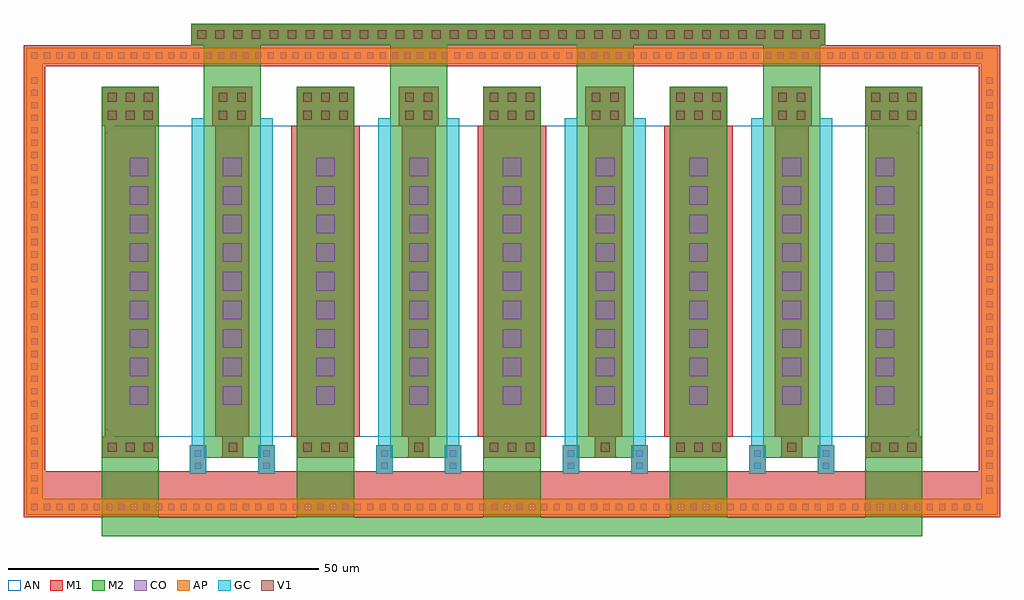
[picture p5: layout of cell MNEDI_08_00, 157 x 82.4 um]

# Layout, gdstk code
import gdstk
lib = gdstk.Library(unit=1e-6, precision=1e-09)
def R(c, l, rs):  # rectangles x0, y0, x1, y1
    for r in rs: c.add(gdstk.rectangle(r[:2], r[2:], *l))
def A(c, l, x, y, w, h, nx, ny, dx, dy):  # array of equal rectangles
    R(c, l, [(x+i*dx, y+j*dy, x+i*dx+w, y+j*dy+h) for i in range(nx) for j in range(ny)])
def P(c, l, *ps):  # polygons
    for p in ps: c.add(gdstk.Polygon(p, *l))
AP = (3, 1)
AN = (3, 2)
GC = (8, 1)
CO = (11, 0)
M1 = (13, 0)
V1 = (19, 0)
M2 = (20, 0)

wlmn_cdns_696586966333 = lib.new_cell('WLMN_CDNS_696586966333')

tc14_cdns_696586966330 = lib.new_cell('TC14_CDNS_696586966330')
R(tc14_cdns_696586966330, M1, [(-51,-1.7,51,1.7)])
A(tc14_cdns_696586966330, V1, -50, -0.7, 1.4, 1.4, 35, 1, 2.9, 0)
R(tc14_cdns_696586966330, M2, [(-51,-1.7,51,1.7)])

tc14_cdns_696586966331 = lib.new_cell('TC14_CDNS_696586966331')
R(tc14_cdns_696586966331, M1, [(-4.6,-3.1,4.6,3.2)])
A(tc14_cdns_696586966331, V1, -3.6, -2.1, 1.4, 1.4, 3, 2, 2.9, 2.9)
R(tc14_cdns_696586966331, M2, [(-4.6,-3.1,4.6,3.2)])

tc14_cdns_696586966332 = lib.new_cell('TC14_CDNS_696586966332')
R(tc14_cdns_696586966332, M1, [(-1.7,-3.1,1.7,3.2)])
R(tc14_cdns_696586966332, V1, [(-0.7,-2.1,0.7,-0.7), (-0.7,0.8,0.7,2.2)])
R(tc14_cdns_696586966332, M2, [(-1.7,-3.1,1.7,3.2)])

tc14_cdns_696586966333 = lib.new_cell('TC14_CDNS_696586966333')
R(tc14_cdns_696586966333, M1, [(-4.6,-1.7,4.6,1.7)])
A(tc14_cdns_696586966333, V1, -3.6, -0.7, 1.4, 1.4, 3, 1, 2.9, 0)
R(tc14_cdns_696586966333, M2, [(-4.6,-1.7,4.6,1.7)])

tc14_cdns_696586966334 = lib.new_cell('TC14_CDNS_696586966334')
R(tc14_cdns_696586966334, M1, [(-1.7,-1.7,1.7,1.7)])
R(tc14_cdns_696586966334, V1, [(-0.7,-0.7,0.7,0.7)])
R(tc14_cdns_696586966334, M2, [(-1.7,-1.7,1.7,1.7)])

sgct_cdns_696586966335 = lib.new_cell('SGCT_CDNS_696586966335')
R(sgct_cdns_696586966335, GC, [(-1.3,-2.3,1.3,2.3)])
R(sgct_cdns_696586966335, CO, [(-0.5,-1.5,0.5,-0.5), (-0.5,0.5,0.5,1.5)])
R(sgct_cdns_696586966335, M1, [(-1.3,-2.3,1.3,2.3)])

mnedi_08_00 = lib.new_cell('MNEDI_08_00')
P(mnedi_08_00, AP, [(5,5),(5,77.6),(7.6,77.6),(7.6,7.6),(158.6,7.6),(158.6,77.6),(5,77.6),(5,80.2),(161.2,80.2),(161.2,5)])
P(mnedi_08_00, AN, [(19,17.6),(17.6,19),(17.6,66.2),(19,67.6),(147.2,67.6),(148.6,66.2),(148.6,19),(147.2,17.6)],
  [(19,17.6),(17.6,19),(17.6,66.2),(19,67.6),(147.2,67.6),(148.6,66.2),(148.6,19),(147.2,17.6)])
R(mnedi_08_00, GC, [(31.6,16.2,33.6,68.8), (42.6,16.2,44.6,68.8), (61.6,16.2,63.6,68.8), (72.6,16.2,74.6,68.8), (91.6,16.2,93.6,68.8), (102.6,16.2,104.6,68.8), (121.6,16.2,123.6,68.8), (132.6,16.2,134.6,68.8)])
A(mnedi_08_00, CO, 5.8, 5.8, 1, 1, 77, 2, 2, 72.6)
A(mnedi_08_00, CO, 5.8, 8.4, 1, 1, 1, 34, 0, 2)
A(mnedi_08_00, CO, 159.4, 8.4, 1, 1, 1, 34, 0, 2)
A(mnedi_08_00, CO, 21.6, 22.7, 3, 3, 1, 9, 0, 4.6)
A(mnedi_08_00, CO, 141.6, 22.7, 3, 3, 1, 9, 0, 4.6)
R(mnedi_08_00, CO, [(36.6,22.7,39.6,25.7), (36.6,22.7,39.6,25.7), (51.6,22.7,54.6,25.7), (51.6,22.7,54.6,25.7), (66.6,22.7,69.6,25.7), (66.6,22.7,69.6,25.7), (81.6,22.7,84.6,25.7), (81.6,22.7,84.6,25.7), (96.6,22.7,99.6,25.7), (96.6,22.7,99.6,25.7), (111.6,22.7,114.6,25.7), (111.6,22.7,114.6,25.7), (126.6,22.7,129.6,25.7), (126.6,22.7,129.6,25.7), (36.6,27.3,39.6,30.3), (36.6,27.3,39.6,30.3), (51.6,27.3,54.6,30.3), (51.6,27.3,54.6,30.3), (66.6,27.3,69.6,30.3), (66.6,27.3,69.6,30.3), (81.6,27.3,84.6,30.3), (81.6,27.3,84.6,30.3), (96.6,27.3,99.6,30.3), (96.6,27.3,99.6,30.3), (111.6,27.3,114.6,30.3), (111.6,27.3,114.6,30.3), (126.6,27.3,129.6,30.3), (126.6,27.3,129.6,30.3), (36.6,31.9,39.6,34.9), (36.6,31.9,39.6,34.9), (51.6,31.9,54.6,34.9), (51.6,31.9,54.6,34.9), (66.6,31.9,69.6,34.9), (66.6,31.9,69.6,34.9), (81.6,31.9,84.6,34.9), (81.6,31.9,84.6,34.9), (96.6,31.9,99.6,34.9), (96.6,31.9,99.6,34.9), (111.6,31.9,114.6,34.9), (111.6,31.9,114.6,34.9), (126.6,31.9,129.6,34.9), (126.6,31.9,129.6,34.9), (36.6,36.5,39.6,39.5), (36.6,36.5,39.6,39.5), (51.6,36.5,54.6,39.5), (51.6,36.5,54.6,39.5), (66.6,36.5,69.6,39.5), (66.6,36.5,69.6,39.5), (81.6,36.5,84.6,39.5), (81.6,36.5,84.6,39.5), (96.6,36.5,99.6,39.5), (96.6,36.5,99.6,39.5), (111.6,36.5,114.6,39.5), (111.6,36.5,114.6,39.5), (126.6,36.5,129.6,39.5), (126.6,36.5,129.6,39.5), (36.6,41.1,39.6,44.1), (36.6,41.1,39.6,44.1), (51.6,41.1,54.6,44.1), (51.6,41.1,54.6,44.1), (66.6,41.1,69.6,44.1), (66.6,41.1,69.6,44.1), (81.6,41.1,84.6,44.1), (81.6,41.1,84.6,44.1), (96.6,41.1,99.6,44.1), (96.6,41.1,99.6,44.1), (111.6,41.1,114.6,44.1), (111.6,41.1,114.6,44.1), (126.6,41.1,129.6,44.1), (126.6,41.1,129.6,44.1), (36.6,45.7,39.6,48.7), (36.6,45.7,39.6,48.7), (51.6,45.7,54.6,48.7), (51.6,45.7,54.6,48.7), (66.6,45.7,69.6,48.7), (66.6,45.7,69.6,48.7), (81.6,45.7,84.6,48.7), (81.6,45.7,84.6,48.7), (96.6,45.7,99.6,48.7), (96.6,45.7,99.6,48.7), (111.6,45.7,114.6,48.7), (111.6,45.7,114.6,48.7), (126.6,45.7,129.6,48.7), (126.6,45.7,129.6,48.7), (36.6,50.3,39.6,53.3), (36.6,50.3,39.6,53.3), (51.6,50.3,54.6,53.3), (51.6,50.3,54.6,53.3), (66.6,50.3,69.6,53.3), (66.6,50.3,69.6,53.3), (81.6,50.3,84.6,53.3), (81.6,50.3,84.6,53.3), (96.6,50.3,99.6,53.3), (96.6,50.3,99.6,53.3), (111.6,50.3,114.6,53.3), (111.6,50.3,114.6,53.3), (126.6,50.3,129.6,53.3), (126.6,50.3,129.6,53.3), (36.6,54.9,39.6,57.9), (36.6,54.9,39.6,57.9), (51.6,54.9,54.6,57.9), (51.6,54.9,54.6,57.9), (66.6,54.9,69.6,57.9), (66.6,54.9,69.6,57.9), (81.6,54.9,84.6,57.9), (81.6,54.9,84.6,57.9), (96.6,54.9,99.6,57.9), (96.6,54.9,99.6,57.9), (111.6,54.9,114.6,57.9), (111.6,54.9,114.6,57.9), (126.6,54.9,129.6,57.9), (126.6,54.9,129.6,57.9), (36.6,59.5,39.6,62.5), (36.6,59.5,39.6,62.5), (51.6,59.5,54.6,62.5), (51.6,59.5,54.6,62.5), (66.6,59.5,69.6,62.5), (66.6,59.5,69.6,62.5), (81.6,59.5,84.6,62.5), (81.6,59.5,84.6,62.5), (96.6,59.5,99.6,62.5), (96.6,59.5,99.6,62.5), (111.6,59.5,114.6,62.5), (111.6,59.5,114.6,62.5), (126.6,59.5,129.6,62.5), (126.6,59.5,129.6,62.5)])
R(mnedi_08_00, M1, [(5,5,161.2,7.6), (5,7.6,7.6,77.6), (7.6,7.6,158.6,12), (158.6,7.6,161.2,77.6), (17.6,17.6,25.8,67.6), (35.4,17.6,40.8,67.6), (35.4,17.6,40.8,67.6), (47.6,17.6,55.8,67.6), (50.4,17.6,58.6,67.6), (65.4,17.6,70.8,67.6), (65.4,17.6,70.8,67.6), (77.6,17.6,85.8,67.6), (80.4,17.6,88.6,67.6), (95.4,17.6,100.8,67.6), (95.4,17.6,100.8,67.6), (107.6,17.6,115.8,67.6), (110.4,17.6,118.6,67.6), (125.4,17.6,130.8,67.6), (125.4,17.6,130.8,67.6), (140.4,17.6,148.6,67.6), (5,77.6,161.2,80.2)])
A(mnedi_08_00, M2, 48.5, 1.6, 9.2, 72.3, 3, 1, 30, 0)
A(mnedi_08_00, M2, 33.5, 14.2, 9.2, 69.8, 4, 1, 30, 0)
R(mnedi_08_00, M2, [(17.1,1.6,18.6,3.1), (17.1,1.6,26.3,73.9), (139.9,1.6,149.1,73.9), (31.5,83,32.5,84)])
mnedi_08_00.add(gdstk.FlexPath([(6.3,4.6),(6.3,80.6)], 3.4, ends="flush", simple_path=True, layer=13, datatype=0))  # M1
mnedi_08_00.add(gdstk.FlexPath([(4.6,78.9),(161.6,78.9)], 3.4, ends="flush", simple_path=True, layer=13, datatype=0))  # M1
mnedi_08_00.add(gdstk.FlexPath([(4.6,6.3),(161.2,6.3)], 3.4, ends="flush", simple_path=True, layer=13, datatype=0))  # M1
mnedi_08_00.add(gdstk.FlexPath([(159.9,4.6),(159.9,80.6)], 3.4, ends="flush", simple_path=True, layer=13, datatype=0))  # M1
mnedi_08_00.add(gdstk.FlexPath([(149.1,3.1),(17.1,3.1)], 3, ends="flush", simple_path=True, layer=20, datatype=0))  # M2
mnedi_08_00.add(gdstk.Reference(wlmn_cdns_696586966333, (0,0)))
mnedi_08_00.add(gdstk.Reference(tc14_cdns_696586966330, (82.5,82.3)))
mnedi_08_00.add(gdstk.Reference(tc14_cdns_696586966331, (144.5,70.7)))
mnedi_08_00.add(gdstk.Reference(tc14_cdns_696586966331, (113.1,70.7)))
mnedi_08_00.add(gdstk.Reference(tc14_cdns_696586966331, (83.1,70.7)))
mnedi_08_00.add(gdstk.Reference(tc14_cdns_696586966331, (53.1,70.7)))
mnedi_08_00.add(gdstk.Reference(tc14_cdns_696586966331, (21.7,70.7)))
mnedi_08_00.add(gdstk.Reference(tc14_cdns_696586966332, (129.6,70.7)))
mnedi_08_00.add(gdstk.Reference(tc14_cdns_696586966332, (126.6,70.7)))
mnedi_08_00.add(gdstk.Reference(tc14_cdns_696586966332, (99.6,70.7)))
mnedi_08_00.add(gdstk.Reference(tc14_cdns_696586966332, (96.6,70.7)))
mnedi_08_00.add(gdstk.Reference(tc14_cdns_696586966332, (69.6,70.7)))
mnedi_08_00.add(gdstk.Reference(tc14_cdns_696586966332, (66.6,70.7)))
mnedi_08_00.add(gdstk.Reference(tc14_cdns_696586966332, (39.6,70.7)))
mnedi_08_00.add(gdstk.Reference(tc14_cdns_696586966332, (36.6,70.7)))
mnedi_08_00.add(gdstk.Reference(tc14_cdns_696586966333, (144.5,15.9)))
mnedi_08_00.add(gdstk.Reference(tc14_cdns_696586966333, (113.1,15.9)))
mnedi_08_00.add(gdstk.Reference(tc14_cdns_696586966333, (83.1,15.9)))
mnedi_08_00.add(gdstk.Reference(tc14_cdns_696586966333, (53.1,15.9)))
mnedi_08_00.add(gdstk.Reference(tc14_cdns_696586966333, (21.7,15.9)))
mnedi_08_00.add(gdstk.Reference(tc14_cdns_696586966334, (128.1,15.9)))
mnedi_08_00.add(gdstk.Reference(tc14_cdns_696586966334, (98.1,15.9)))
mnedi_08_00.add(gdstk.Reference(tc14_cdns_696586966334, (68.1,15.9)))
mnedi_08_00.add(gdstk.Reference(tc14_cdns_696586966334, (38.2,15.9)))
mnedi_08_00.add(gdstk.Reference(sgct_cdns_696586966335, (133.6,13.9)))
mnedi_08_00.add(gdstk.Reference(sgct_cdns_696586966335, (122.6,13.9)))
mnedi_08_00.add(gdstk.Reference(sgct_cdns_696586966335, (103.6,13.9)))
mnedi_08_00.add(gdstk.Reference(sgct_cdns_696586966335, (92.6,13.9)))
mnedi_08_00.add(gdstk.Reference(sgct_cdns_696586966335, (73.6,13.9)))
mnedi_08_00.add(gdstk.Reference(sgct_cdns_696586966335, (62.6,13.9)))
mnedi_08_00.add(gdstk.Reference(sgct_cdns_696586966335, (43.6,13.9)))
mnedi_08_00.add(gdstk.Reference(sgct_cdns_696586966335, (32.6,13.9)))

lib.write_gds('MNEDI_08_00.gds')
